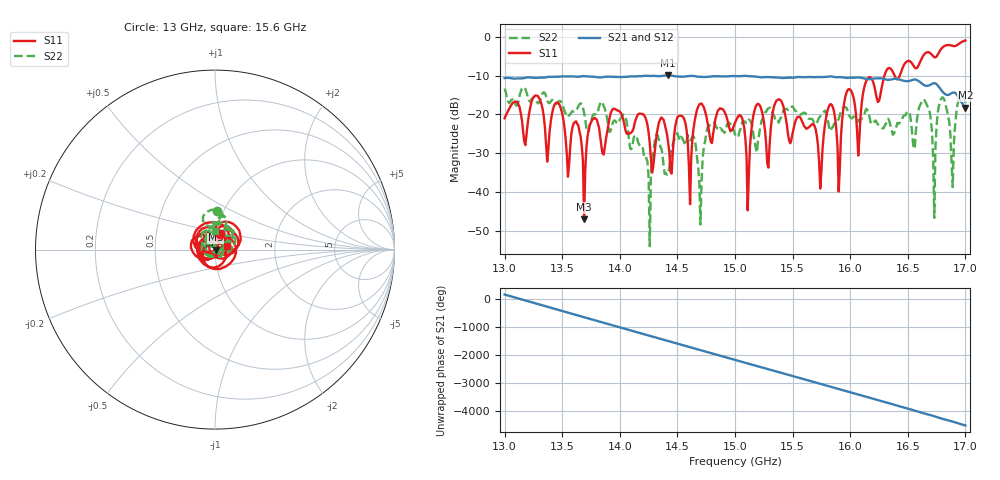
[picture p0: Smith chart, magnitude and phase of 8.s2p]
!Keysight Technologies,P9374A,MY57211807,A.19.30.04
!Date: Friday, May 01, 2026 14:47:42
!Correction: S11(C  2-Port  )
!S21(C  2-Port  )
!S12(C  2-Port  )
!S22(C  2-Port  )
!S2P File: Measurements: S11, S21, S12, S22:
# Hz S  RI  R 50
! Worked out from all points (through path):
!   401 points, 13 GHz to 17 GHz, reference 50 ohm
!   highest |S21| = -9.91 dB at 14.42 GHz (marker M1); lowest = -18.2 dB at 17 GHz (marker M2)
!   lowest |S11| = -47.0 dB at 13.69 GHz (marker M3), VSWR 1.01, Z = 50.4 - j0.121 ohm
!   |S11| at or under -10 dB: start of sweep to 16.3 GHz; 16.38493 GHz to 16.43056 GHz (45.63 MHz wide, 0.278 % of centre)
!   |S22| runs from -53.9 to -13.0 dB; largest |S21 - S12| = 0.0068
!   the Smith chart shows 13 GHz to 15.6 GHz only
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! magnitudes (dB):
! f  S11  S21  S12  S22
! 13 GHz  -21.0  -10.6  -10.6  -13.4
! 13.46 GHz  -16.9  -10.3  -10.2  -16.9
! 13.67 GHz  -28.2  -10.2  -10.2  -17.4
! 13.69 GHz  -47.0  -10.1  -10.1  -19.6
! 13.77 GHz  -21.2  -10.3  -10.3  -20.0
! 14.25 GHz  -24.6  -10.1  -10.1  -36.1
! 14.34 GHz  -22.0  -10.2  -10.2  -26.6
! 14.42 GHz  -27.3  -9.9  -9.9  -35.3
! 15 GHz  -22.2  -10.1  -10.1  -25.2
! 15.11 GHz  -44.7  -10.1  -10.1  -22.1
! 15.2 GHz  -17.3  -10.3  -10.3  -26.7
! 15.28 GHz  -32.6  -10.4  -10.4  -18.7
! 15.67 GHz  -22.5  -10.4  -10.4  -21.2
! 15.9 GHz  -39.8  -10.4  -10.4  -21.2
! 15.98 GHz  -13.6  -10.6  -10.6  -19.2
! 16.07 GHz  -30.6  -10.5  -10.5  -21.9
! 16.34 GHz  -8.1  -11.1  -11.1  -21.8
! 16.64 GHz  -4.6  -12.4  -12.4  -16.3
! 16.73 GHz  -5.3  -12.0  -12.0  -46.6
! 16.8 GHz  -2.8  -14.1  -14.0  -15.6
! 16.89 GHz  -2.4  -14.4  -14.4  -38.7
! 17 GHz  -1.0  -18.2  -18.2  -17.1
